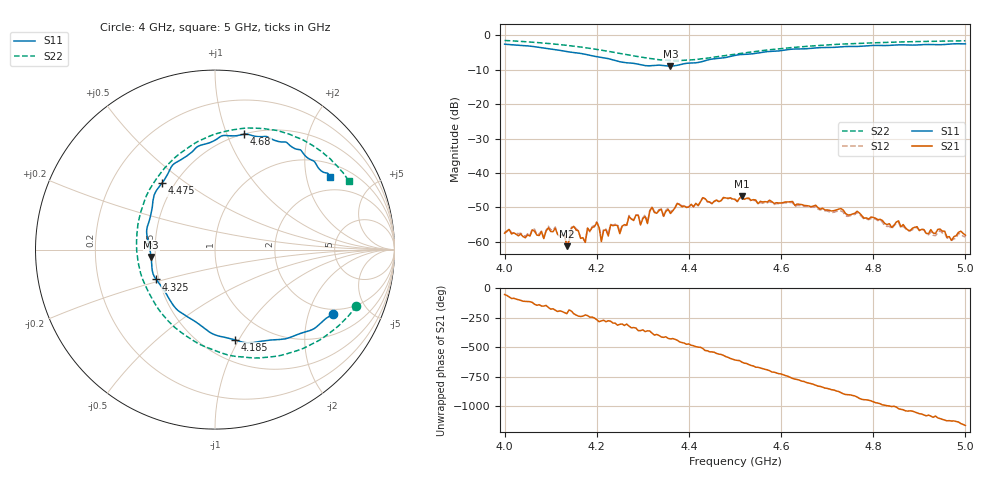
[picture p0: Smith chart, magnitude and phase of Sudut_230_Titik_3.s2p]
# Hz S RI R 50
! CMT, C1220, 16058040, 17.2.0/1
! Date: 15/08/2018 12:40:40
! Data: Format (Calibration Info)
! Freq  S11: Re/Im (F2)  S21: Re/Im (F2)  S12: Re/Im (F2)  S22: Re/Im (F2)
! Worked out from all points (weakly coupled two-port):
!   201 points, 4 GHz to 5 GHz, reference 50 ohm
!   highest |S21| = -46.77 dB at 4.515 GHz (marker M1); lowest = -61.3 dB at 4.135 GHz (marker M2)
!   lowest |S11| = -8.9 dB at 4.36 GHz (marker M3), VSWR 2.12, Z = 23.7 - j2.22 ohm
!   |S11| at or under -10 dB: nowhere
!   |S22| runs from -7.3 to -1.4 dB; largest |S21 - S12| = 0.00024
!   S11 on the Smith chart (normalised r, x): 4 GHz: 1.78, -2.90; 4.185 GHz: 0.71, -0.97; 4.325 GHz: 0.48, -0.19; 4.475 GHz: 0.43, +0.41; 4.68 GHz: 0.50, +1.15; 5 GHz: 1.46, +2.75
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4e9  0.6558 -0.359  0.000834 -0.00104  0.000926 -0.00104  0.7869 -0.3136
4.11e9  0.3738 -0.4995  -0.00157 0.000103  -0.00164 9.41e-05  0.5247 -0.5341
4.135e9  0.291 -0.5064  -0.00072 0.000479  -0.000789 0.000504  0.439 -0.5683
4.15e9  0.2324 -0.515  -0.00139 0.000941  -0.0014 0.000958  0.3835 -0.5848
4.17e9  0.161 -0.5174  -0.000664 0.000938  -0.000663 0.000918  0.3073 -0.5984
4.185e9  0.1123 -0.5032  -0.000641 0.00128  -0.000696 0.00121  0.2445 -0.6036
4.2e9  0.0567 -0.4892  -0.000151 0.00191  -0.000187 0.00194  0.1806 -0.601
4.21e9  0.0188 -0.4809  8.61e-05 0.00101  9.96e-05 0.00108  0.137 -0.597
4.23e9  -0.0442 -0.4492  0.000236 0.00175  0.000231 0.00178  0.0477 -0.5796
4.25e9  -0.1109 -0.4005  0.000739 0.00109  0.000856 0.00109  -0.0385 -0.5479
4.27e9  -0.1881 -0.3522  0.00178 0.00152  0.00183 0.00159  -0.1236 -0.5052
4.295e9  -0.2525 -0.2797  0.00176 6.71e-05  0.00181 9.07e-05  -0.225 -0.4327
4.325e9  -0.3277 -0.1665  0.00218 -0.00155  0.00228 -0.00154  -0.3249 -0.317
4.335e9  -0.3456 -0.134  0.00222 -0.00177  0.00227 -0.00185  -0.3505 -0.2732
4.36e9  -0.3563 -0.0408  0.000952 -0.0024  0.00093 -0.00253  -0.4065 -0.1572
4.475e9  -0.2969 0.3693  -0.0039 0.00206  -0.00386 0.0021  -0.3391 0.3748
4.5e9  -0.2499 0.449  -0.00163 0.00383  -0.00158 0.00379  -0.2787 0.4562
4.515e9  -0.2276 0.4784  -0.000399 0.00457  -0.000299 0.0045  -0.2377 0.499
4.67e9  0.144 0.639  -0.000186 -0.0033  -0.000281 -0.0032  0.2039 0.6775
4.68e9  0.1625 0.6432  -0.00101 -0.00298  -0.00109 -0.0028  0.2307 0.6763
4.835e9  0.4469 0.5617  0.000245 0.00182  0.000218 0.00167  0.5498 0.5762
5e9  0.6383 0.4037  0.000159 -0.00124  0.000192 -0.00116  0.7458 0.3832
